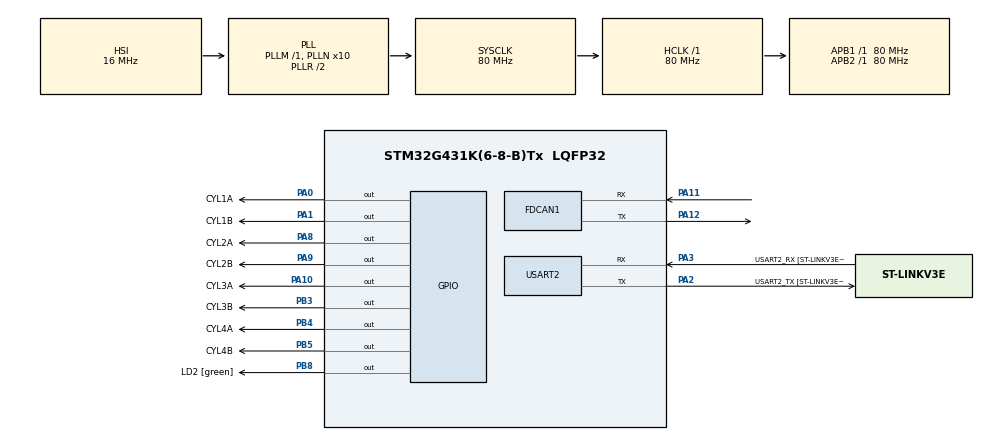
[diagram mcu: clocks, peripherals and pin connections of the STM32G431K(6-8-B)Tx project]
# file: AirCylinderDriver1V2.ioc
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FDCAN1.CalculateBaudRateNominal=1000000
FDCAN1.CalculateTimeBitNominal=1000
FDCAN1.CalculateTimeQuantumNominal=62.5
FDCAN1.DataPrescaler=1
FDCAN1.DataSyncJumpWidth=4
FDCAN1.DataTimeSeg1=5
FDCAN1.DataTimeSeg2=4
FDCAN1.NominalPrescaler=5
FDCAN1.NominalSyncJumpWidth=16
FDCAN1.NominalTimeSeg1=13
FDCAN1.StdFiltersNbr=1
Mcu.Family=STM32G4
Mcu.Name=STM32G431K(6-8-B)Tx
Mcu.Package=LQFP32
NVIC.FDCAN1_IT0_IRQn=true\:0\:0\:false\:false\:true\:true\:true\:true
NVIC.FDCAN1_IT1_IRQn=true\:0\:0\:false\:false\:true\:true\:true\:true
NVIC.PriorityGroup=NVIC_PRIORITYGROUP_4
PA0.GPIO_Label=CYL1A
PA0.Signal=GPIO_Output
PA1.GPIO_Label=CYL1B
PA1.Signal=GPIO_Output
PA10.GPIO_Label=CYL3A
PA10.Signal=GPIO_Output
PA11.Mode=FDCAN_Activate
PA11.Signal=FDCAN1_RX
PA12.Mode=FDCAN_Activate
PA12.Signal=FDCAN1_TX
PA13.GPIO_Label=T_SWDIO
PA13.Mode=Serial_Wire
PA13.Signal=SYS_JTMS-SWDIO
PA14.GPIO_Label=T_SWCLK
PA14.Mode=Serial_Wire
PA14.Signal=SYS_JTCK-SWCLK
PA2.GPIO_Label=USART2_TX [ST-LINKV3E_VCP_RX]
PA2.Mode=Asynchronous
PA2.Signal=USART2_TX
PA3.GPIO_Label=USART2_RX [ST-LINKV3E_VCP_TX]
PA3.Mode=Asynchronous
PA3.Signal=USART2_RX
PA8.GPIO_Label=CYL2A
PA8.Signal=GPIO_Output
PA9.GPIO_Label=CYL2B
PA9.Signal=GPIO_Output
PB3.GPIO_Label=CYL3B
PB3.Signal=GPIO_Output
PB4.GPIO_Label=CYL4A
PB4.Signal=GPIO_Output
PB5.GPIO_Label=CYL4B
PB5.Signal=GPIO_Output
PB8-BOOT0.GPIO_Label=LD2 [green]
PB8-BOOT0.Signal=GPIO_Output
ProjectManager.HeapSize=0x200
ProjectManager.StackSize=0x400
ProjectManager.TargetToolchain=STM32CubeIDE
RCC.ADC12Freq_Value=80000000
RCC.AHBFreq_Value=80000000
RCC.APB1Freq_Value=80000000
RCC.APB1TimFreq_Value=80000000
RCC.APB2Freq_Value=80000000
RCC.APB2TimFreq_Value=80000000
RCC.CortexFreq_Value=80000000
RCC.EXTERNAL_CLOCK_VALUE=12288000
RCC.HCLKFreq_Value=80000000
RCC.HSE_VALUE=8000000
RCC.HSI48_VALUE=48000000
RCC.HSI_VALUE=16000000
RCC.LSE_VALUE=32768
RCC.PLLN=10
RCC.SYSCLKFreq_VALUE=80000000
RCC.SYSCLKSource=RCC_SYSCLKSOURCE_PLLCLK
RCC.USBFreq_Value=80000000
RCC.VCOOutputFreq_Value=160000000
USART2.VirtualMode-Asynchronous=VM_ASYNC
USART2.WordLength=WORDLENGTH_8B
board=NUCLEO-G431KB

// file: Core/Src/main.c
/* USER CODE BEGIN Header */
/**
  ******************************************************************************
  * @file           : main.c
  * @brief          : Main program body
  ******************************************************************************
  * @attention
  *
  * Copyright (c) 2023 STMicroelectronics.
  * All rights reserved.
  *
  * This software is licensed under terms that can be found in the LICENSE file
  * in the root directory of this software component.
  * If no LICENSE file comes with this software, it is provided AS-IS.
  *
  ******************************************************************************
  */
/* USER CODE END Header */
#include "main.h"

/* USER CODE BEGIN Includes */
#include <stdio.h>
/* USER CODE END Includes */

/* USER CODE BEGIN PD */
#define CANID_FSTCYL 0x110
#define DELAYMS 500
/* USER CODE END PD */

FDCAN_HandleTypeDef hfdcan1;

UART_HandleTypeDef huart2;

/* USER CODE BEGIN PV */
GPIO_TypeDef *GPIOs[8] = {CYL1A_GPIO_Port, CYL1B_GPIO_Port, CYL2A_GPIO_Port, CYL2B_GPIO_Port, CYL3A_GPIO_Port, CYL3B_GPIO_Port, CYL4A_GPIO_Port, CYL4B_GPIO_Port};
uint16_t GPIOPins[8] = {CYL1A_Pin, CYL1B_Pin, CYL2A_Pin, CYL2B_Pin, CYL3A_Pin, CYL3B_Pin, CYL4A_Pin, CYL4B_Pin};
uint8_t CylFlag[4] = {};

/* USER CODE END PV */

void SystemClock_Config(void);
static void MX_GPIO_Init(void);
static void MX_USART2_UART_Init(void);
static void MX_FDCAN1_Init(void);

/* USER CODE BEGIN 0 */
int _write(int file, char *ptr, int len)
{
	HAL_UART_Transmit(&huart2, (uint8_t *)ptr, len, 10);
	return len;
}

void CylN(uint8_t CylID){
	printf("N\r\n");
	HAL_GPIO_WritePin(GPIOs[CylID*2], GPIOPins[CylID*2], GPIO_PIN_RESET);
	HAL_GPIO_WritePin(GPIOs[CylID*2+1], GPIOPins[CylID*2+1], GPIO_PIN_RESET);
}

void CylPush(uint8_t CylID){
	printf("Push\r\n");
	HAL_GPIO_WritePin(GPIOs[CylID*2], GPIOPins[CylID*2], GPIO_PIN_SET);
	HAL_GPIO_WritePin(GPIOs[CylID*2+1], GPIOPins[CylID*2+1], GPIO_PIN_RESET);
}

void CylPull(uint8_t CylID){
	printf("Move B\r\n");
	HAL_GPIO_WritePin(GPIOs[CylID*2], GPIOPins[CylID*2], GPIO_PIN_RESET);
	HAL_GPIO_WritePin(GPIOs[CylID*2+1], GPIOPins[CylID*2+1], GPIO_PIN_SET);
}

void CylThrow(uint8_t CylID){
	printf("Throw\r\n");
	CylPush(CylID);
	HAL_Delay(DELAYMS);
	CylPull(CylID);
	HAL_Delay(DELAYMS);
	CylN(CylID);
	CylFlag[CylID]=0;
}

void CylRThrow(uint8_t CylID){
	printf("Throw\r\n");
	CylPull(CylID);
	HAL_Delay(DELAYMS);
	CylPush(CylID);
	HAL_Delay(DELAYMS);
	CylN(CylID);
	CylFlag[CylID]=0;
}

/* USER CODE END 0 */

int main(void)
{

  /* MCU Configuration--------------------------------------------------------*/

  /* Reset of all peripherals, Initializes the Flash interface and the Systick. */
  HAL_Init();

  /* Configure the system clock */
  SystemClock_Config();

  /* Initialize all configured peripherals */
  MX_GPIO_Init();
  MX_USART2_UART_Init();
  MX_FDCAN1_Init();

  /* Infinite loop */
  /* USER CODE BEGIN WHILE */
  while (1)
  {
	  for(uint8_t i=0; i<4; i++){

		  switch(CylFlag[i]){

		  		case 0:
		  			CylN(i);
		  			break;

		  		case 1:
		  			CylPush(i);
		  			break;

		  		case 2:
		  			CylPull(i);
		  			break;

		  		case 3:
		  			CylThrow(i);
		  			break;

		  		case 4:
		  			CylRThrow(i);
		  			break;

		  		}

	  }

	  HAL_Delay(15);
    /* USER CODE END WHILE */

  }
}

void SystemClock_Config(void)
{
  RCC_OscInitTypeDef RCC_OscInitStruct = {0};
  RCC_ClkInitTypeDef RCC_ClkInitStruct = {0};

  /** Configure the main internal regulator output voltage
  */
  HAL_PWREx_ControlVoltageScaling(PWR_REGULATOR_VOLTAGE_SCALE1);

  /** Initializes the RCC Oscillators according to the specified parameters
  * in the RCC_OscInitTypeDef structure.
  */
  RCC_OscInitStruct.OscillatorType = RCC_OSCILLATORTYPE_HSI;
  RCC_OscInitStruct.HSIState = RCC_HSI_ON;
  RCC_OscInitStruct.HSICalibrationValue = RCC_HSICALIBRATION_DEFAULT;
  RCC_OscInitStruct.PLL.PLLState = RCC_PLL_ON;
  RCC_OscInitStruct.PLL.PLLSource = RCC_PLLSOURCE_HSI;
  RCC_OscInitStruct.PLL.PLLM = RCC_PLLM_DIV1;
  RCC_OscInitStruct.PLL.PLLN = 10;
  RCC_OscInitStruct.PLL.PLLP = RCC_PLLP_DIV2;
  RCC_OscInitStruct.PLL.PLLQ = RCC_PLLQ_DIV2;
  RCC_OscInitStruct.PLL.PLLR = RCC_PLLR_DIV2;
  if (HAL_RCC_OscConfig(&RCC_OscInitStruct) != HAL_OK)
  {
    Error_Handler();
  }

  /** Initializes the CPU, AHB and APB buses clocks
  */
  RCC_ClkInitStruct.ClockType = RCC_CLOCKTYPE_HCLK|RCC_CLOCKTYPE_SYSCLK
                              |RCC_CLOCKTYPE_PCLK1|RCC_CLOCKTYPE_PCLK2;
  RCC_ClkInitStruct.SYSCLKSource = RCC_SYSCLKSOURCE_PLLCLK;
  RCC_ClkInitStruct.AHBCLKDivider = RCC_SYSCLK_DIV1;
  RCC_ClkInitStruct.APB1CLKDivider = RCC_HCLK_DIV1;
  RCC_ClkInitStruct.APB2CLKDivider = RCC_HCLK_DIV1;

  if (HAL_RCC_ClockConfig(&RCC_ClkInitStruct, FLASH_LATENCY_2) != HAL_OK)
  {
    Error_Handler();
  }
}

static void MX_FDCAN1_Init(void)
{

  hfdcan1.Instance = FDCAN1;
  hfdcan1.Init.ClockDivider = FDCAN_CLOCK_DIV1;
  hfdcan1.Init.FrameFormat = FDCAN_FRAME_CLASSIC;
  hfdcan1.Init.Mode = FDCAN_MODE_NORMAL;
  hfdcan1.Init.AutoRetransmission = DISABLE;
  hfdcan1.Init.TransmitPause = DISABLE;
  hfdcan1.Init.ProtocolException = DISABLE;
  hfdcan1.Init.NominalPrescaler = 5;
  hfdcan1.Init.NominalSyncJumpWidth = 16;
  hfdcan1.Init.NominalTimeSeg1 = 13;
  hfdcan1.Init.NominalTimeSeg2 = 2;
  hfdcan1.Init.DataPrescaler = 1;
  hfdcan1.Init.DataSyncJumpWidth = 4;
  hfdcan1.Init.DataTimeSeg1 = 5;
  hfdcan1.Init.DataTimeSeg2 = 4;
  hfdcan1.Init.StdFiltersNbr = 1;
  hfdcan1.Init.ExtFiltersNbr = 0;
  hfdcan1.Init.TxFifoQueueMode = FDCAN_TX_FIFO_OPERATION;
  if (HAL_FDCAN_Init(&hfdcan1) != HAL_OK)
  {
    Error_Handler();
  }
  /* USER CODE BEGIN FDCAN1_Init 2 */
  FDCAN_FilterTypeDef sFilterConfig;
  	sFilterConfig.IdType = FDCAN_STANDARD_ID;
  	sFilterConfig.FilterIndex = 0;
  	sFilterConfig.FilterType = FDCAN_FILTER_MASK;
  	sFilterConfig.FilterConfig = FDCAN_FILTER_TO_RXFIFO0;
  	sFilterConfig.FilterID1 = CANID_FSTCYL;
  	sFilterConfig.FilterID2 = 0x7FC;

  	if (HAL_FDCAN_ConfigFilter(&hfdcan1, &sFilterConfig) != HAL_OK) {
  		Error_Handler();
  	}
  	if (HAL_FDCAN_ConfigGlobalFilter(&hfdcan1, FDCAN_REJECT, FDCAN_REJECT, FDCAN_FILTER_REMOTE, FDCAN_FILTER_REMOTE) != HAL_OK) {
  		Error_Handler();
  	}

  	if (HAL_FDCAN_Start(&hfdcan1) != HAL_OK) {
  		Error_Handler();
  	}
  	if (HAL_FDCAN_ActivateNotification(&hfdcan1, FDCAN_IT_RX_FIFO0_NEW_MESSAGE, 0) != HAL_OK) {
  	  Error_Handler();
  	}

  /* USER CODE END FDCAN1_Init 2 */

}

static void MX_USART2_UART_Init(void)
{

  huart2.Instance = USART2;
  huart2.Init.BaudRate = 115200;
  huart2.Init.WordLength = UART_WORDLENGTH_8B;
  huart2.Init.StopBits = UART_STOPBITS_1;
  huart2.Init.Parity = UART_PARITY_NONE;
  huart2.Init.Mode = UART_MODE_TX_RX;
  huart2.Init.HwFlowCtl = UART_HWCONTROL_NONE;
  huart2.Init.OverSampling = UART_OVERSAMPLING_16;
  huart2.Init.OneBitSampling = UART_ONE_BIT_SAMPLE_DISABLE;
  huart2.Init.ClockPrescaler = UART_PRESCALER_DIV1;
  huart2.AdvancedInit.AdvFeatureInit = UART_ADVFEATURE_NO_INIT;
  if (HAL_UART_Init(&huart2) != HAL_OK)
  {
    Error_Handler();
  }
  if (HAL_UARTEx_SetTxFifoThreshold(&huart2, UART_TXFIFO_THRESHOLD_1_8) != HAL_OK)
  {
    Error_Handler();
  }
  if (HAL_UARTEx_SetRxFifoThreshold(&huart2, UART_RXFIFO_THRESHOLD_1_8) != HAL_OK)
  {
    Error_Handler();
  }
  if (HAL_UARTEx_DisableFifoMode(&huart2) != HAL_OK)
  {
    Error_Handler();
  }
  /* USER CODE BEGIN USART2_Init 2 */
  setbuf(stdout, NULL);
  /* USER CODE END USART2_Init 2 */

}

static void MX_GPIO_Init(void)
{
  GPIO_InitTypeDef GPIO_InitStruct = {0};

  /* GPIO Ports Clock Enable */
  __HAL_RCC_GPIOA_CLK_ENABLE();
  __HAL_RCC_GPIOB_CLK_ENABLE();

  /*Configure GPIO pin Output Level */
  HAL_GPIO_WritePin(GPIOA, CYL1A_Pin|CYL1B_Pin|CYL2A_Pin|CYL2B_Pin
                          |CYL3A_Pin, GPIO_PIN_RESET);

  /*Configure GPIO pin Output Level */
  HAL_GPIO_WritePin(GPIOB, CYL3B_Pin|CYL4A_Pin|CYL4B_Pin|LD2_Pin, GPIO_PIN_RESET);

  /*Configure GPIO pins : CYL1A_Pin CYL1B_Pin CYL2A_Pin CYL2B_Pin
                           CYL3A_Pin */
  GPIO_InitStruct.Pin = CYL1A_Pin|CYL1B_Pin|CYL2A_Pin|CYL2B_Pin
                          |CYL3A_Pin;
  GPIO_InitStruct.Mode = GPIO_MODE_OUTPUT_PP;
  GPIO_InitStruct.Pull = GPIO_NOPULL;
  GPIO_InitStruct.Speed = GPIO_SPEED_FREQ_LOW;
  HAL_GPIO_Init(GPIOA, &GPIO_InitStruct);

  /*Configure GPIO pins : CYL3B_Pin CYL4A_Pin CYL4B_Pin LD2_Pin */
  GPIO_InitStruct.Pin = CYL3B_Pin|CYL4A_Pin|CYL4B_Pin|LD2_Pin;
  GPIO_InitStruct.Mode = GPIO_MODE_OUTPUT_PP;
  GPIO_InitStruct.Pull = GPIO_NOPULL;
  GPIO_InitStruct.Speed = GPIO_SPEED_FREQ_LOW;
  HAL_GPIO_Init(GPIOB, &GPIO_InitStruct);

}

/* USER CODE BEGIN 4 */
void HAL_FDCAN_RxFifo0Callback(FDCAN_HandleTypeDef *hfdcan, uint32_t RxFifo0ITs) {
	FDCAN_RxHeaderTypeDef RxHeader;
	uint8_t RxData[1];
	uint8_t CylID;

	if (hfdcan == &hfdcan1) {
		printf("Get message\r\n");
		if (HAL_FDCAN_GetRxMessage(hfdcan, FDCAN_RX_FIFO0, &RxHeader, RxData) != HAL_OK) {
			Error_Handler();
		}
		CylID = RxHeader.Identifier - CANID_FSTCYL;
		CylFlag[CylID] = RxData[0];

		//HAL_GPIO_WritePin(GPIOs[CylID*2], GPIOPins[CylID*2], RxData[0]);

		//printf("Motor%x:%d\r\n", RxHeader.Identifier- 0x201, actMotorVel[MOTOR1]); //index is motorID-201 (0x201 - 0x201 =0)
		//Motor%x:RxHeader.Identifier- 0x201,
	}
}
/* USER CODE END 4 */

void Error_Handler(void)
{
  __disable_irq();
  while (1)
  {
  }
}
